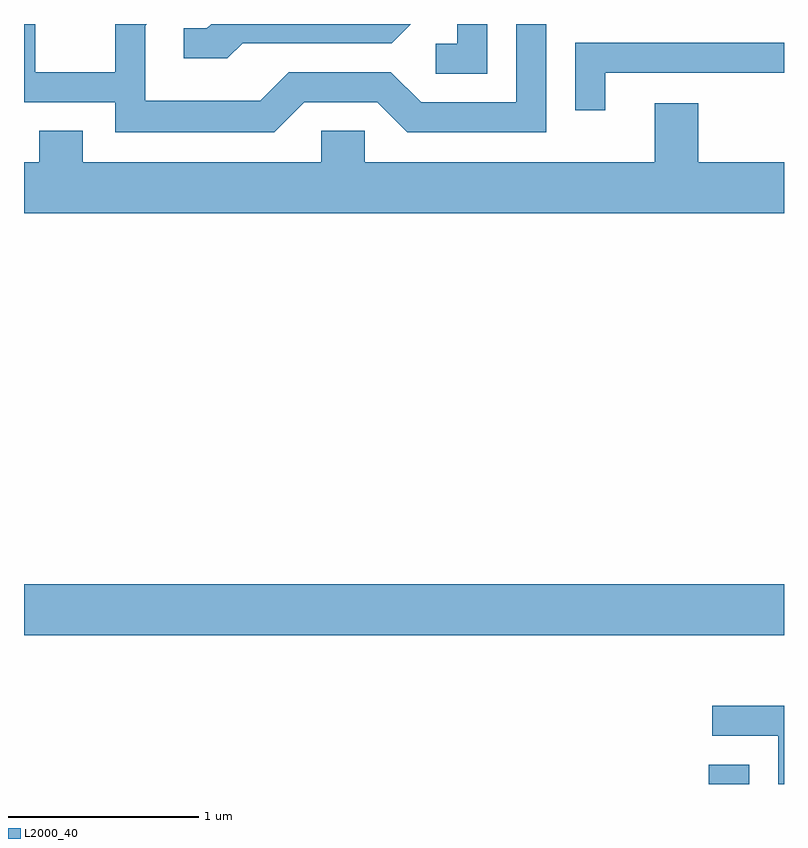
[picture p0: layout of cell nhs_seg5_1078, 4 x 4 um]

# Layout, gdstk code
import gdstk
lib = gdstk.Library(unit=1e-6, precision=1e-09)
def R(c, l, rs):  # rectangles x0, y0, x1, y1
    for r in rs: c.add(gdstk.rectangle(r[:2], r[2:], *l))
def P(c, l, *ps):  # polygons
    for p in ps: c.add(gdstk.Polygon(p, *l))
L2000_40 = (2000, 40)

nhs_seg5_1078 = lib.new_cell('nhs_seg5_1078')
R(nhs_seg5_1078, L2000_40, [(221.216,1396.072,221.429,1396.174), (217.611,1396.856,221.611,1397.124)])
P(nhs_seg5_1078, L2000_40, [(219.087,1399.661),(219.469,1399.661),(219.629,1399.501),(220.359,1399.501),(220.359,1400.072),(220.201,1400.072),(220.201,1399.659),(219.702,1399.659),(219.542,1399.819),(219.004,1399.819),(218.854,1399.669),(218.249,1399.669),(218.249,1400.064),(218.257,1400.072),(218.091,1400.072),(218.091,1399.819),(217.669,1399.819),(217.669,1400.072),(217.611,1400.072),(217.611,1399.661),(218.091,1399.661),(218.091,1399.501),(218.927,1399.501)],
  [(220.049,1400.072),(219.891,1400.072),(219.891,1399.969),(219.778,1399.969),(219.778,1399.811),(220.049,1399.811)],
  [(218.762,1399.971),(219.547,1399.971),(219.647,1400.072),(218.597,1400.072),(218.574,1400.049),(218.453,1400.049),(218.453,1399.891),(218.682,1399.891)],
  [(220.669,1399.816),(221.611,1399.816),(221.611,1399.974),(220.511,1399.974),(220.511,1399.618),(220.669,1399.618)],
  [(221.611,1399.344),(221.159,1399.344),(221.159,1399.654),(220.931,1399.654),(220.931,1399.344),(219.404,1399.344),(219.404,1399.509),(219.176,1399.509),(219.176,1399.344),(217.919,1399.344),(217.919,1399.509),(217.691,1399.509),(217.691,1399.344),(217.611,1399.344),(217.611,1399.076),(221.611,1399.076)],
  [(221.611,1396.484),(221.233,1396.484),(221.233,1396.326),(221.581,1396.326),(221.581,1396.072),(221.611,1396.072)])

lib.write_gds('nhs_seg5_1078.gds')
